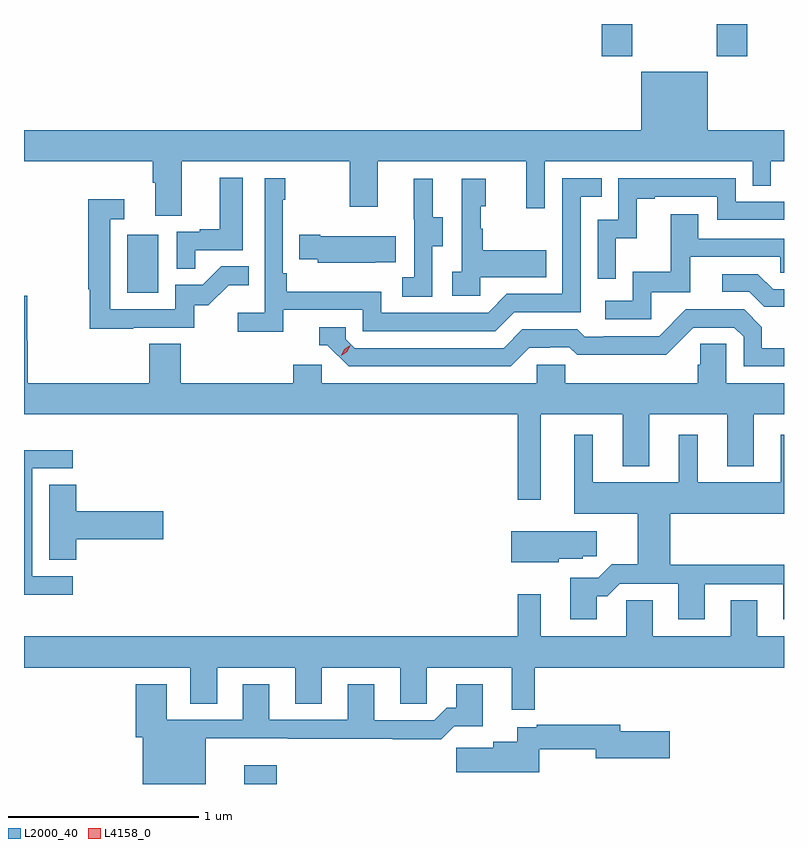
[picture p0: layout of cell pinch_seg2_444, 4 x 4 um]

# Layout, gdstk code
import gdstk
lib = gdstk.Library(unit=1e-6, precision=1e-09)
def R(c, l, rs):  # rectangles x0, y0, x1, y1
    for r in rs: c.add(gdstk.rectangle(r[:2], r[2:], *l))
def P(c, l, *ps):  # polygons
    for p in ps: c.add(gdstk.Polygon(p, *l))
L2000_40 = (2000, 40)
L4158_0 = (4158, 0)

pinch_seg2_444 = lib.new_cell('pinch_seg2_444')
R(pinch_seg2_444, L2000_40, [(902.309,611.059,902.48,611.158), (901.694,613.644,901.858,613.951), (904.193,614.889,904.353,615.059), (904.798,614.889,904.958,615.059)])
P(pinch_seg2_444, L2000_40, [(901.981,614.336),(902.866,614.336),(902.866,614.097),(903.013,614.097),(903.013,614.336),(903.794,614.336),(903.794,614.088),(903.891,614.088),(903.891,614.336),(904.986,614.336),(904.986,614.209),(905.082,614.209),(905.082,614.336),(905.151,614.336),(905.151,614.5),(904.75,614.5),(904.75,614.809),(904.4,614.809),(904.4,614.5),(901.151,614.5),(901.151,614.336),(901.829,614.336),(901.829,614.224),(901.841,614.224),(901.841,614.05),(901.981,614.05)],
  [(902.051,613.869),(902.302,613.869),(902.302,614.251),(902.18,614.251),(902.18,613.978),(902.077,613.978),(902.077,613.965),(901.956,613.965),(901.956,613.771),(902.051,613.771)],
  [(902.516,613.554),(902.934,613.554),(902.934,613.443),(903.631,613.443),(903.73,613.542),(904.08,613.542),(904.08,614.151),(904.193,614.151),(904.193,614.247),(903.984,614.247),(903.984,613.638),(903.693,613.638),(903.594,613.539),(903.03,613.539),(903.03,613.651),(902.534,613.651),(902.534,613.747),(902.514,613.747),(902.514,614.135),(902.527,614.135),(902.527,614.248),(902.418,614.248),(902.418,613.54),(902.277,613.54),(902.277,613.438),(902.516,613.438)],
  [(904.266,613.931),(904.376,613.931),(904.376,614.139),(904.471,614.139),(904.471,614.151),(904.8,614.151),(904.8,614.028),(905.151,614.028),(905.151,614.124),(904.896,614.124),(904.896,614.247),(904.278,614.247),(904.278,614.028),(904.17,614.028),(904.17,613.719),(904.266,613.719)],
  [(903.3,613.888),(903.355,613.888),(903.355,614.043),(903.301,614.043),(903.301,614.245),(903.203,614.245),(903.203,614.031),(903.204,614.031),(903.204,613.727),(903.141,613.727),(903.141,613.624),(903.3,613.624)],
  [(903.552,613.727),(903.899,613.727),(903.899,613.867),(903.565,613.867),(903.565,613.982),(903.555,613.982),(903.555,614.1),(903.58,614.1),(903.58,614.245),(903.456,614.245),(903.456,613.754),(903.405,613.754),(903.405,613.629),(903.552,613.629)],
  [(901.727,613.461),(902.046,613.461),(902.046,613.578),(902.122,613.578),(902.229,613.685),(902.333,613.685),(902.333,613.784),(902.19,613.784),(902.092,613.686),(901.947,613.686),(901.947,613.557),(901.605,613.557),(901.605,614.031),(901.678,614.031),(901.678,614.137),(901.489,614.137),(901.489,613.664),(901.497,613.664),(901.497,613.456),(901.727,613.456)],
  [(904.452,613.647),(904.657,613.647),(904.657,613.833),(905.131,613.833),(905.131,613.749),(905.151,613.749),(905.151,613.929),(904.699,613.929),(904.699,614.059),(904.555,614.059),(904.555,613.756),(904.356,613.756),(904.356,613.602),(904.209,613.602),(904.209,613.506),(904.452,613.506)],
  [(902.999,613.805),(903.107,613.805),(903.107,613.942),(902.71,613.942),(902.71,613.95),(902.599,613.95),(902.599,613.82),(902.697,613.82),(902.697,613.802),(902.999,613.802)],
  [(905.151,613.662),(905.095,613.662),(905.014,613.743),(904.827,613.743),(904.827,613.65),(904.968,613.65),(905.048,613.57),(905.151,613.57)],
  [(902.567,613.266),(902.567,613.168),(901.976,613.168),(901.976,613.376),(901.811,613.376),(901.811,613.168),(901.172,613.168),(901.172,613.391),(901.167,613.391),(901.167,613.63),(901.151,613.63),(901.151,613.004),(903.75,613.004),(903.75,612.555),(903.871,612.555),(903.871,613.004),(904.301,613.004),(904.301,612.731),(904.441,612.731),(904.441,613.004),(904.853,613.004),(904.853,612.731),(904.993,612.731),(904.993,613.004),(905.151,613.004),(905.151,613.168),(904.848,613.168),(904.848,613.376),(904.711,613.376),(904.711,613.266),(904.697,613.266),(904.697,613.168),(903.999,613.168),(903.999,613.266),(903.849,613.266),(903.849,613.168),(902.718,613.168),(902.718,613.266)],
  [(903.811,613.356),(903.918,613.356),(903.918,613.359),(904.021,613.359),(904.063,613.317),(904.296,613.317),(904.296,613.319),(904.532,613.319),(904.674,613.461),(904.89,613.461),(904.938,613.413),(904.938,613.257),(905.151,613.257),(905.151,613.353),(905.035,613.353),(905.035,613.463),(904.941,613.557),(904.635,613.557),(904.494,613.416),(904.201,613.416),(904.201,613.413),(904.102,613.413),(904.063,613.452),(903.774,613.452),(903.675,613.353),(902.892,613.353),(902.844,613.401),(902.844,613.464),(902.705,613.464),(902.705,613.368),(902.748,613.368),(902.859,613.257),(903.712,613.257)],
  [(904.165,612.047),(904.22,612.047),(904.287,612.114),(904.595,612.114),(904.595,611.925),(904.735,611.925),(904.735,612.111),(905.147,612.111),(905.147,611.925),(905.151,611.925),(905.151,612.212),(904.553,612.212),(904.553,612.482),(905.151,612.482),(905.151,612.898),(905.135,612.898),(905.135,612.646),(904.696,612.646),(904.696,612.898),(904.598,612.898),(904.598,612.646),(904.144,612.646),(904.144,612.898),(904.046,612.898),(904.046,612.482),(904.382,612.482),(904.382,612.215),(904.244,612.215),(904.173,612.144),(904.025,612.144),(904.025,611.925),(904.165,611.925)],
  [(901.408,612.153),(901.194,612.153),(901.194,612.72),(901.408,612.72),(901.408,612.816),(901.151,612.816),(901.151,612.055),(901.408,612.055)],
  [(901.427,612.347),(901.885,612.347),(901.885,612.494),(901.427,612.494),(901.427,612.635),(901.283,612.635),(901.283,612.238),(901.427,612.238)],
  [(903.966,612.245),(904.092,612.245),(904.092,612.259),(904.165,612.259),(904.165,612.388),(903.716,612.388),(903.716,612.227),(903.966,612.227)],
  [(903.84,611.672),(905.151,611.672),(905.151,611.836),(905.011,611.836),(905.011,612.026),(904.871,612.026),(904.871,611.836),(904.459,611.836),(904.459,612.026),(904.32,612.026),(904.32,611.836),(903.871,611.836),(903.871,612.058),(903.75,612.058),(903.75,611.836),(901.151,611.836),(901.151,611.672),(902.027,611.672),(902.027,611.482),(902.167,611.482),(902.167,611.672),(902.579,611.672),(902.579,611.482),(902.719,611.482),(902.719,611.672),(903.131,611.672),(903.131,611.482),(903.27,611.482),(903.27,611.672),(903.719,611.672),(903.719,611.451),(903.84,611.451)],
  [(902.107,611.3),(902.539,611.3),(902.539,611.296),(903.091,611.296),(903.091,611.294),(903.347,611.294),(903.416,611.363),(903.565,611.363),(903.565,611.584),(903.425,611.584),(903.425,611.461),(903.376,611.461),(903.309,611.394),(902.995,611.394),(902.995,611.584),(902.855,611.584),(902.855,611.397),(902.443,611.397),(902.443,611.584),(902.303,611.584),(902.303,611.397),(901.903,611.397),(901.903,611.584),(901.739,611.584),(901.739,611.304),(901.775,611.304),(901.775,611.059),(902.107,611.059)],
  [(903.864,611.242),(904.16,611.242),(904.16,611.195),(904.549,611.195),(904.549,611.337),(904.288,611.337),(904.288,611.371),(903.952,611.371),(903.952,611.37),(903.85,611.37),(903.85,611.358),(903.746,611.358),(903.746,611.281),(903.62,611.281),(903.62,611.249),(903.426,611.249),(903.426,611.12),(903.864,611.12)])
P(pinch_seg2_444, L4158_0, [(902.822,613.314),(902.822,613.314),(902.837,613.347),(902.868,613.367),(902.868,613.367),(902.868,613.367),(902.852,613.334),(902.822,613.314)])

lib.write_gds('pinch_seg2_444.gds')
